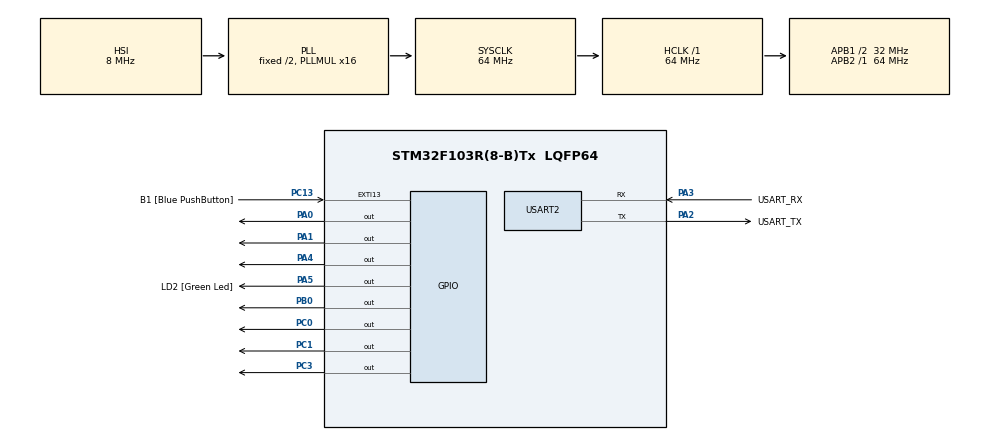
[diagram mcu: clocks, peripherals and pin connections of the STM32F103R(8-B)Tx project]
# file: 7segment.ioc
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Mcu.Family=STM32F1
Mcu.Name=STM32F103R(8-B)Tx
Mcu.Package=LQFP64
NVIC.EXTI15_10_IRQn=true\:0\:0\:false\:false\:true\:true\:true\:true
NVIC.PriorityGroup=NVIC_PRIORITYGROUP_4
PA0-WKUP.Signal=GPIO_Output
PA1.Signal=GPIO_Output
PA13.GPIO_Label=TMS
PA13.Mode=Serial_Wire
PA13.Signal=SYS_JTMS-SWDIO
PA14.GPIO_Label=TCK
PA14.Mode=Serial_Wire
PA14.Signal=SYS_JTCK-SWCLK
PA2.GPIO_Label=USART_TX
PA2.GPIO_Mode=GPIO_MODE_AF_PP
PA2.GPIO_PuPd=GPIO_NOPULL
PA2.GPIO_Speed=GPIO_SPEED_FREQ_LOW
PA2.Mode=Asynchronous
PA2.Signal=USART2_TX
PA3.GPIO_Label=USART_RX
PA3.GPIO_Mode=GPIO_MODE_AF_PP
PA3.GPIO_PuPd=GPIO_NOPULL
PA3.GPIO_Speed=GPIO_SPEED_FREQ_LOW
PA3.Mode=Asynchronous
PA3.Signal=USART2_RX
PA4.Signal=GPIO_Output
PA5.GPIO_Label=LD2 [Green Led]
PA5.GPIO_ModeDefaultOutputPP=GPIO_MODE_OUTPUT_PP
PA5.GPIO_PuPd=GPIO_NOPULL
PA5.GPIO_Speed=GPIO_SPEED_FREQ_LOW
PA5.Signal=GPIO_Output
PB0.Signal=GPIO_Output
PB3.GPIO_Label=SWO
PB3.Signal=SYS_JTDO-TRACESWO
PC0.Signal=GPIO_Output
PC1.Signal=GPIO_Output
PC13-TAMPER-RTC.GPIO_Label=B1 [Blue PushButton]
PC13-TAMPER-RTC.GPIO_PuPd=GPIO_NOPULL
PC13-TAMPER-RTC.Signal=GPXTI13
PC14-OSC32_IN.Mode=LSE-External-Oscillator
PC14-OSC32_IN.Signal=RCC_OSC32_IN
PC15-OSC32_OUT.Mode=LSE-External-Oscillator
PC15-OSC32_OUT.Signal=RCC_OSC32_OUT
PC3.Signal=GPIO_Output
PD0-OSC_IN.Mode=HSE-External-Clock-Source
PD0-OSC_IN.Signal=RCC_OSC_IN
PD1-OSC_OUT.Mode=HSE-External-Clock-Source
PD1-OSC_OUT.Signal=RCC_OSC_OUT
ProjectManager.HeapSize=0x200
ProjectManager.StackSize=0x400
ProjectManager.TargetToolchain=STM32CubeIDE
RCC.AHBFreq_Value=64000000
RCC.APB1CLKDivider=RCC_HCLK_DIV2
RCC.APB1Freq_Value=32000000
RCC.APB1TimFreq_Value=64000000
RCC.APB2Freq_Value=64000000
RCC.APB2TimFreq_Value=64000000
RCC.HCLKFreq_Value=64000000
RCC.PLLMUL=RCC_PLL_MUL16
RCC.RTCClockSelection=RCC_RTCCLKSOURCE_LSE
RCC.SYSCLKFreq_VALUE=64000000
RCC.SYSCLKSource=RCC_SYSCLKSOURCE_PLLCLK
RCC.USBFreq_Value=64000000
USART2.VirtualMode=VM_ASYNC
board=NUCLEO-F103RB

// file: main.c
/* USER CODE BEGIN Header */
/**
  ******************************************************************************
  * @file           : main.c
  * @brief          : Main program body
  ******************************************************************************
  * @attention
  *
  * Copyright (c) 2025 STMicroelectronics.
  * All rights reserved.
  *
  * This software is licensed under terms that can be found in the LICENSE file
  * in the root directory of this software component.
  * If no LICENSE file comes with this software, it is provided AS-IS.
  *
  ******************************************************************************
  */
/* USER CODE END Header */
#include "main.h"

UART_HandleTypeDef huart2;

/* USER CODE BEGIN PV */

const uint8_t seven_seg_patterns[12] = {
    0x3F, // 0
    0x06, // 1
    0x5B, // 2
    0x4F, // 3
    0x66, // 4
    0x6D, // 5
    0x7D, // 6
    0x07, // 7
    0x7F, // 8
    0x6F  // 9
};

/* USER CODE END PV */

void SystemClock_Config(void);
static void MX_GPIO_Init(void);
static void MX_USART2_UART_Init(void);

/* USER CODE BEGIN 0 */

/**
  * @brief  Displays a number (0-9) on the 7-segment display.
  * @param  number: The number to display.
  * @retval None
  */
void display_7seg(uint8_t number)
{
    if (number > 11) return; // Ensure number is within the valid range

    uint8_t pattern = seven_seg_patterns[number];

    // Write the pattern to the GPIO pins for the 7-segment display
    HAL_GPIO_WritePin(GPIOA, GPIO_PIN_0, (pattern & 0x01) ? GPIO_PIN_SET : GPIO_PIN_RESET);
    HAL_GPIO_WritePin(GPIOA, GPIO_PIN_1, (pattern & 0x02) ? GPIO_PIN_SET : GPIO_PIN_RESET);
    HAL_GPIO_WritePin(GPIOA, GPIO_PIN_4, (pattern & 0x04) ? GPIO_PIN_SET : GPIO_PIN_RESET);
    HAL_GPIO_WritePin(GPIOB, GPIO_PIN_0, (pattern & 0x08) ? GPIO_PIN_SET : GPIO_PIN_RESET);
    HAL_GPIO_WritePin(GPIOC, GPIO_PIN_1, (pattern & 0x10) ? GPIO_PIN_SET : GPIO_PIN_RESET);
    HAL_GPIO_WritePin(GPIOC, GPIO_PIN_0, (pattern & 0x20) ? GPIO_PIN_SET : GPIO_PIN_RESET);
    HAL_GPIO_WritePin(GPIOC, GPIO_PIN_3, (pattern & 0x40) ? GPIO_PIN_SET : GPIO_PIN_RESET);
}

/* USER CODE END 0 */

int main(void)
{

  /* MCU Configuration--------------------------------------------------------*/

  /* Reset of all peripherals, Initializes the Flash interface and the Systick. */
  HAL_Init();

  /* Configure the system clock */
  SystemClock_Config();

  /* Initialize all configured peripherals */
  MX_GPIO_Init();
  MX_USART2_UART_Init();

  /* Infinite loop */
  /* USER CODE BEGIN WHILE */
  uint8_t counter=0;
  while (1)
  {

	  display_7seg(counter);
	  HAL_Delay(500);
	  counter++;
	  if(counter>9){
		  counter=0;
	  }
    /* USER CODE END WHILE */

  }
}

void SystemClock_Config(void)
{
  RCC_OscInitTypeDef RCC_OscInitStruct = {0};
  RCC_ClkInitTypeDef RCC_ClkInitStruct = {0};

  /** Initializes the RCC Oscillators according to the specified parameters
  * in the RCC_OscInitTypeDef structure.
  */
  RCC_OscInitStruct.OscillatorType = RCC_OSCILLATORTYPE_HSI;
  RCC_OscInitStruct.HSIState = RCC_HSI_ON;
  RCC_OscInitStruct.HSICalibrationValue = RCC_HSICALIBRATION_DEFAULT;
  RCC_OscInitStruct.PLL.PLLState = RCC_PLL_ON;
  RCC_OscInitStruct.PLL.PLLSource = RCC_PLLSOURCE_HSI_DIV2;
  RCC_OscInitStruct.PLL.PLLMUL = RCC_PLL_MUL16;
  if (HAL_RCC_OscConfig(&RCC_OscInitStruct) != HAL_OK)
  {
    Error_Handler();
  }

  /** Initializes the CPU, AHB and APB buses clocks
  */
  RCC_ClkInitStruct.ClockType = RCC_CLOCKTYPE_HCLK|RCC_CLOCKTYPE_SYSCLK
                              |RCC_CLOCKTYPE_PCLK1|RCC_CLOCKTYPE_PCLK2;
  RCC_ClkInitStruct.SYSCLKSource = RCC_SYSCLKSOURCE_PLLCLK;
  RCC_ClkInitStruct.AHBCLKDivider = RCC_SYSCLK_DIV1;
  RCC_ClkInitStruct.APB1CLKDivider = RCC_HCLK_DIV2;
  RCC_ClkInitStruct.APB2CLKDivider = RCC_HCLK_DIV1;

  if (HAL_RCC_ClockConfig(&RCC_ClkInitStruct, FLASH_LATENCY_2) != HAL_OK)
  {
    Error_Handler();
  }
}

static void MX_USART2_UART_Init(void)
{

  huart2.Instance = USART2;
  huart2.Init.BaudRate = 115200;
  huart2.Init.WordLength = UART_WORDLENGTH_8B;
  huart2.Init.StopBits = UART_STOPBITS_1;
  huart2.Init.Parity = UART_PARITY_NONE;
  huart2.Init.Mode = UART_MODE_TX_RX;
  huart2.Init.HwFlowCtl = UART_HWCONTROL_NONE;
  huart2.Init.OverSampling = UART_OVERSAMPLING_16;
  if (HAL_UART_Init(&huart2) != HAL_OK)
  {
    Error_Handler();
  }

}

static void MX_GPIO_Init(void)
{
  GPIO_InitTypeDef GPIO_InitStruct = {0};

  /* GPIO Ports Clock Enable */
  __HAL_RCC_GPIOC_CLK_ENABLE();
  __HAL_RCC_GPIOD_CLK_ENABLE();
  __HAL_RCC_GPIOA_CLK_ENABLE();
  __HAL_RCC_GPIOB_CLK_ENABLE();

  /*Configure GPIO pin Output Level */
  HAL_GPIO_WritePin(GPIOC, GPIO_PIN_0|GPIO_PIN_1|GPIO_PIN_3, GPIO_PIN_RESET);

  /*Configure GPIO pin Output Level */
  HAL_GPIO_WritePin(GPIOA, GPIO_PIN_0|GPIO_PIN_1|GPIO_PIN_4|LD2_Pin, GPIO_PIN_RESET);

  /*Configure GPIO pin Output Level */
  HAL_GPIO_WritePin(GPIOB, GPIO_PIN_0, GPIO_PIN_RESET);

  /*Configure GPIO pin : B1_Pin */
  GPIO_InitStruct.Pin = B1_Pin;
  GPIO_InitStruct.Mode = GPIO_MODE_IT_RISING;
  GPIO_InitStruct.Pull = GPIO_NOPULL;
  HAL_GPIO_Init(B1_GPIO_Port, &GPIO_InitStruct);

  /*Configure GPIO pins : PC0 PC1 PC3 */
  GPIO_InitStruct.Pin = GPIO_PIN_0|GPIO_PIN_1|GPIO_PIN_3;
  GPIO_InitStruct.Mode = GPIO_MODE_OUTPUT_PP;
  GPIO_InitStruct.Pull = GPIO_NOPULL;
  GPIO_InitStruct.Speed = GPIO_SPEED_FREQ_LOW;
  HAL_GPIO_Init(GPIOC, &GPIO_InitStruct);

  /*Configure GPIO pins : PA0 PA1 PA4 LD2_Pin */
  GPIO_InitStruct.Pin = GPIO_PIN_0|GPIO_PIN_1|GPIO_PIN_4|LD2_Pin;
  GPIO_InitStruct.Mode = GPIO_MODE_OUTPUT_PP;
  GPIO_InitStruct.Pull = GPIO_NOPULL;
  GPIO_InitStruct.Speed = GPIO_SPEED_FREQ_LOW;
  HAL_GPIO_Init(GPIOA, &GPIO_InitStruct);

  /*Configure GPIO pin : PB0 */
  GPIO_InitStruct.Pin = GPIO_PIN_0;
  GPIO_InitStruct.Mode = GPIO_MODE_OUTPUT_PP;
  GPIO_InitStruct.Pull = GPIO_NOPULL;
  GPIO_InitStruct.Speed = GPIO_SPEED_FREQ_LOW;
  HAL_GPIO_Init(GPIOB, &GPIO_InitStruct);

  /* EXTI interrupt init*/
  HAL_NVIC_SetPriority(EXTI15_10_IRQn, 0, 0);
  HAL_NVIC_EnableIRQ(EXTI15_10_IRQn);

}

void Error_Handler(void)
{
  __disable_irq();
  while (1)
  {
  }
}
